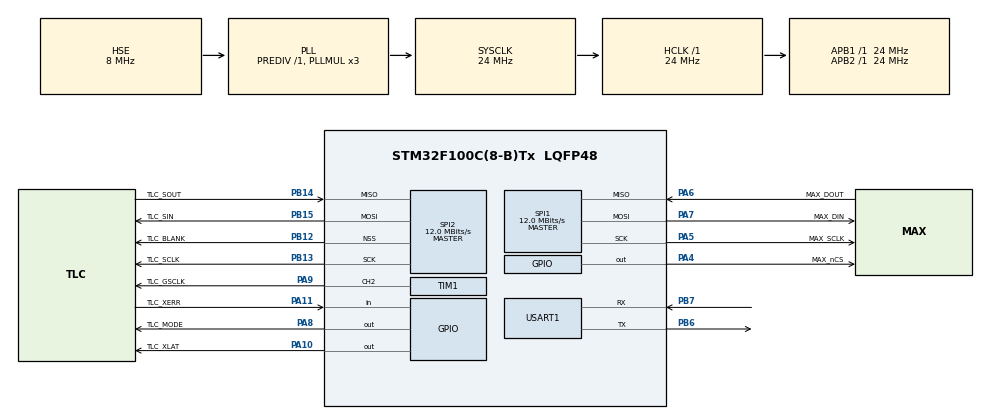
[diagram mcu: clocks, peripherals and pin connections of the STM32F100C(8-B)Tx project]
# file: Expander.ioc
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Dma.Request0=SPI1_RX
Dma.Request1=SPI1_TX
Dma.SPI1_RX.0.Direction=DMA_PERIPH_TO_MEMORY
Dma.SPI1_RX.0.Instance=DMA1_Channel2
Dma.SPI1_RX.0.MemDataAlignment=DMA_MDATAALIGN_BYTE
Dma.SPI1_RX.0.MemInc=DMA_MINC_ENABLE
Dma.SPI1_RX.0.Mode=DMA_NORMAL
Dma.SPI1_RX.0.PeriphDataAlignment=DMA_PDATAALIGN_BYTE
Dma.SPI1_RX.0.PeriphInc=DMA_PINC_DISABLE
Dma.SPI1_RX.0.Priority=DMA_PRIORITY_LOW
Dma.SPI1_TX.1.Direction=DMA_MEMORY_TO_PERIPH
Dma.SPI1_TX.1.Instance=DMA1_Channel3
Dma.SPI1_TX.1.MemDataAlignment=DMA_MDATAALIGN_BYTE
Dma.SPI1_TX.1.MemInc=DMA_MINC_ENABLE
Dma.SPI1_TX.1.Mode=DMA_NORMAL
Dma.SPI1_TX.1.PeriphDataAlignment=DMA_PDATAALIGN_BYTE
Dma.SPI1_TX.1.PeriphInc=DMA_PINC_DISABLE
Dma.SPI1_TX.1.Priority=DMA_PRIORITY_LOW
Mcu.Family=STM32F1
Mcu.Name=STM32F100C(8-B)Tx
Mcu.Package=LQFP48
NVIC.DMA1_Channel2_IRQn=true\:0\:0\:false\:false\:true\:true\:true
NVIC.DMA1_Channel3_IRQn=true\:0\:0\:false\:false\:true\:true\:true
NVIC.PriorityGroup=NVIC_PRIORITYGROUP_4
NVIC.SPI2_IRQn=true\:0\:0\:false\:false\:true\:true\:true
NVIC.USART1_IRQn=true\:0\:0\:false\:false\:true\:true\:true
PA10.GPIO_Label=TLC_XLAT
PA10.Signal=GPIO_Output
PA11.GPIO_Label=TLC_XERR
PA11.Signal=GPIO_Input
PA13.GPIO_Label=SWDIO
PA13.Mode=Serial_Wire
PA13.Signal=SYS_JTMS-SWDIO
PA14.GPIO_Label=SWCLK
PA14.Mode=Serial_Wire
PA14.Signal=SYS_JTCK-SWCLK
PA4.GPIO_Label=MAX_nCS
PA4.Signal=GPIO_Output
PA5.GPIO_Label=MAX_SCLK
PA5.Mode=Full_Duplex_Master
PA5.Signal=SPI1_SCK
PA6.GPIO_Label=MAX_DOUT
PA6.Mode=Full_Duplex_Master
PA6.Signal=SPI1_MISO
PA7.GPIO_Label=MAX_DIN
PA7.Mode=Full_Duplex_Master
PA7.Signal=SPI1_MOSI
PA8.GPIO_Label=TLC_MODE
PA8.Signal=GPIO_Output
PA9.GPIO_Label=TLC_GSCLK
PA9.GPIO_Speed=GPIO_SPEED_FREQ_HIGH
PA9.Signal=S_TIM1_CH2
PB12.GPIO_Label=TLC_BLANK
PB12.Mode=NSS_Signal_Hard_Output
PB12.Signal=SPI2_NSS
PB13.GPIO_Label=TLC_SCLK
PB13.Mode=Full_Duplex_Master
PB13.Signal=SPI2_SCK
PB14.GPIO_Label=TLC_SOUT
PB14.Mode=Full_Duplex_Master
PB14.Signal=SPI2_MISO
PB15.GPIO_Label=TLC_SIN
PB15.Mode=Full_Duplex_Master
PB15.Signal=SPI2_MOSI
PB6.Mode=Asynchronous
PB6.Signal=USART1_TX
PB7.Mode=Asynchronous
PB7.Signal=USART1_RX
PD0-OSC_IN.Mode=HSE-External-Oscillator
PD0-OSC_IN.Signal=RCC_OSC_IN
PD1-OSC_OUT.Mode=HSE-External-Oscillator
PD1-OSC_OUT.Signal=RCC_OSC_OUT
ProjectManager.HeapSize=0x400
ProjectManager.StackSize=0x200
ProjectManager.TargetToolchain=Other Toolchains (GPDSC)
RCC.AHBFreq_Value=24000000
RCC.APB1Freq_Value=24000000
RCC.APB1TimFreq_Value=24000000
RCC.APB2Freq_Value=24000000
RCC.APB2TimFreq_Value=24000000
RCC.HCLKFreq_Value=24000000
RCC.PLLMUL=RCC_PLL_MUL3
RCC.PLLSource=RCC_PLLSOURCE_HSE
RCC.SYSCLKFreq_VALUE=24000000
RCC.SYSCLKSource=RCC_SYSCLKSOURCE_PLLCLK
SH.S_TIM1_CH2.0=TIM1_CH2,Output Compare2 CH2
SPI1.BaudRatePrescaler=SPI_BAUDRATEPRESCALER_2
SPI1.CalculateBaudRate=12.0 MBits/s
SPI1.Direction=SPI_DIRECTION_2LINES
SPI1.Mode=SPI_MODE_MASTER
SPI1.VirtualType=VM_MASTER
SPI2.BaudRatePrescaler=SPI_BAUDRATEPRESCALER_2
SPI2.CalculateBaudRate=12.0 MBits/s
SPI2.Direction=SPI_DIRECTION_2LINES
SPI2.Mode=SPI_MODE_MASTER
SPI2.VirtualNSS=VM_NSSHARD
SPI2.VirtualType=VM_MASTER
TIM1.AutoReloadPreload=TIM_AUTORELOAD_PRELOAD_DISABLE
TIM1.Channel-Output\ Compare2\ CH2=TIM_CHANNEL_2
TIM1.OCMode_2=TIM_OCMODE_TOGGLE
TIM1.Period=2
TIM1.Pulse-Output\ Compare2\ CH2=32765
USART1.VirtualMode=VM_ASYNC
VP_TIM1_VS_ClockSourceINT.Mode=Internal
board=Expander

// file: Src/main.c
/* USER CODE BEGIN Header */
/**
  ******************************************************************************
  * @file           : main.c
  * @brief          : Main program body
  ******************************************************************************
  * @attention
  *
  * <h2><center>&copy; Copyright (c) 2021 STMicroelectronics.
  * All rights reserved.</center></h2>
  *
  * This software component is licensed by ST under BSD 3-Clause license,
  * the "License"; You may not use this file except in compliance with the
  * License. You may obtain a copy of the License at:
  *                        opensource.org/licenses/BSD-3-Clause
  *
  ******************************************************************************
  */
/* USER CODE END Header */
#include "main.h"

/* USER CODE BEGIN Includes */
#include "HAL_MAX11300.h"
#include "HAL_TLC5946.h"
/* USER CODE END Includes */

SPI_HandleTypeDef hspi1;
SPI_HandleTypeDef hspi2;
DMA_HandleTypeDef hdma_spi1_rx;
DMA_HandleTypeDef hdma_spi1_tx;

TIM_HandleTypeDef htim1;

UART_HandleTypeDef huart1;

/* USER CODE BEGIN PV */
/* Private variables ---------------------------------------------------------*/

/* USER CODE END PV */

void SystemClock_Config(void);
static void MX_GPIO_Init(void);
static void MX_DMA_Init(void);
static void MX_SPI1_Init(void);
static void MX_SPI2_Init(void);
static void MX_TIM1_Init(void);
static void MX_USART1_UART_Init(void);
/* USER CODE BEGIN PFP */
/* Private function prototypes -----------------------------------------------*/
void setup(void);
void run(void);

/* USER CODE END PFP */

int main(void)
{

  /* MCU Configuration--------------------------------------------------------*/

  /* Reset of all peripherals, Initializes the Flash interface and the Systick. */
  HAL_Init();

  /* Configure the system clock */
  SystemClock_Config();

  /* Initialize all configured peripherals */
  MX_GPIO_Init();
  MX_DMA_Init();
  MX_SPI1_Init();
  MX_SPI2_Init();
  MX_TIM1_Init();
  MX_USART1_UART_Init();
  /* USER CODE BEGIN 2 */

  setup();

  /* USER CODE END 2 */

  /* Infinite loop */
  while (1)
  {

    /* USER CODE BEGIN 3 */
   run();

  }
  /* USER CODE END 3 */
}

void SystemClock_Config(void)
{
  RCC_OscInitTypeDef RCC_OscInitStruct = {0};
  RCC_ClkInitTypeDef RCC_ClkInitStruct = {0};

  /** Initializes the RCC Oscillators according to the specified parameters
  * in the RCC_OscInitTypeDef structure.
  */
  RCC_OscInitStruct.OscillatorType = RCC_OSCILLATORTYPE_HSE;
  RCC_OscInitStruct.HSEState = RCC_HSE_ON;
  RCC_OscInitStruct.HSEPredivValue = RCC_HSE_PREDIV_DIV1;
  RCC_OscInitStruct.PLL.PLLState = RCC_PLL_ON;
  RCC_OscInitStruct.PLL.PLLSource = RCC_PLLSOURCE_HSE;
  RCC_OscInitStruct.PLL.PLLMUL = RCC_PLL_MUL3;
  if (HAL_RCC_OscConfig(&RCC_OscInitStruct) != HAL_OK)
  {
    Error_Handler();
  }
  /** Initializes the CPU, AHB and APB buses clocks
  */
  RCC_ClkInitStruct.ClockType = RCC_CLOCKTYPE_HCLK|RCC_CLOCKTYPE_SYSCLK
                              |RCC_CLOCKTYPE_PCLK1|RCC_CLOCKTYPE_PCLK2;
  RCC_ClkInitStruct.SYSCLKSource = RCC_SYSCLKSOURCE_PLLCLK;
  RCC_ClkInitStruct.AHBCLKDivider = RCC_SYSCLK_DIV1;
  RCC_ClkInitStruct.APB1CLKDivider = RCC_HCLK_DIV1;
  RCC_ClkInitStruct.APB2CLKDivider = RCC_HCLK_DIV1;

  if (HAL_RCC_ClockConfig(&RCC_ClkInitStruct, FLASH_LATENCY_0) != HAL_OK)
  {
    Error_Handler();
  }
}

static void MX_SPI1_Init(void)
{

  /* SPI1 parameter configuration*/
  hspi1.Instance = SPI1;
  hspi1.Init.Mode = SPI_MODE_MASTER;
  hspi1.Init.Direction = SPI_DIRECTION_2LINES;
  hspi1.Init.DataSize = SPI_DATASIZE_8BIT;
  hspi1.Init.CLKPolarity = SPI_POLARITY_LOW;
  hspi1.Init.CLKPhase = SPI_PHASE_1EDGE;
  hspi1.Init.NSS = SPI_NSS_SOFT;
  hspi1.Init.BaudRatePrescaler = SPI_BAUDRATEPRESCALER_2;
  hspi1.Init.FirstBit = SPI_FIRSTBIT_MSB;
  hspi1.Init.TIMode = SPI_TIMODE_DISABLE;
  hspi1.Init.CRCCalculation = SPI_CRCCALCULATION_DISABLE;
  hspi1.Init.CRCPolynomial = 10;
  if (HAL_SPI_Init(&hspi1) != HAL_OK)
  {
    Error_Handler();
  }

}

static void MX_SPI2_Init(void)
{

  /* SPI2 parameter configuration*/
  hspi2.Instance = SPI2;
  hspi2.Init.Mode = SPI_MODE_MASTER;
  hspi2.Init.Direction = SPI_DIRECTION_2LINES;
  hspi2.Init.DataSize = SPI_DATASIZE_8BIT;
  hspi2.Init.CLKPolarity = SPI_POLARITY_LOW;
  hspi2.Init.CLKPhase = SPI_PHASE_1EDGE;
  hspi2.Init.NSS = SPI_NSS_HARD_OUTPUT;
  hspi2.Init.BaudRatePrescaler = SPI_BAUDRATEPRESCALER_2;
  hspi2.Init.FirstBit = SPI_FIRSTBIT_MSB;
  hspi2.Init.TIMode = SPI_TIMODE_DISABLE;
  hspi2.Init.CRCCalculation = SPI_CRCCALCULATION_DISABLE;
  hspi2.Init.CRCPolynomial = 10;
  if (HAL_SPI_Init(&hspi2) != HAL_OK)
  {
    Error_Handler();
  }

}

static void MX_TIM1_Init(void)
{

  TIM_ClockConfigTypeDef sClockSourceConfig = {0};
  TIM_MasterConfigTypeDef sMasterConfig = {0};
  TIM_OC_InitTypeDef sConfigOC = {0};
  TIM_BreakDeadTimeConfigTypeDef sBreakDeadTimeConfig = {0};

  htim1.Instance = TIM1;
  htim1.Init.Prescaler = 0;
  htim1.Init.CounterMode = TIM_COUNTERMODE_UP;
  htim1.Init.Period = 2;
  htim1.Init.ClockDivision = TIM_CLOCKDIVISION_DIV1;
  htim1.Init.RepetitionCounter = 0;
  htim1.Init.AutoReloadPreload = TIM_AUTORELOAD_PRELOAD_ENABLE;
  if (HAL_TIM_Base_Init(&htim1) != HAL_OK)
  {
    Error_Handler();
  }
  sClockSourceConfig.ClockSource = TIM_CLOCKSOURCE_INTERNAL;
  if (HAL_TIM_ConfigClockSource(&htim1, &sClockSourceConfig) != HAL_OK)
  {
    Error_Handler();
  }
  if (HAL_TIM_OC_Init(&htim1) != HAL_OK)
  {
    Error_Handler();
  }
  sMasterConfig.MasterOutputTrigger = TIM_TRGO_RESET;
  sMasterConfig.MasterSlaveMode = TIM_MASTERSLAVEMODE_DISABLE;
  if (HAL_TIMEx_MasterConfigSynchronization(&htim1, &sMasterConfig) != HAL_OK)
  {
    Error_Handler();
  }
  sConfigOC.OCMode = TIM_OCMODE_TOGGLE;
  sConfigOC.Pulse = 32765;
  sConfigOC.OCPolarity = TIM_OCPOLARITY_HIGH;
  sConfigOC.OCNPolarity = TIM_OCNPOLARITY_HIGH;
  sConfigOC.OCFastMode = TIM_OCFAST_DISABLE;
  sConfigOC.OCIdleState = TIM_OCIDLESTATE_RESET;
  sConfigOC.OCNIdleState = TIM_OCNIDLESTATE_RESET;
  if (HAL_TIM_OC_ConfigChannel(&htim1, &sConfigOC, TIM_CHANNEL_2) != HAL_OK)
  {
    Error_Handler();
  }
  sBreakDeadTimeConfig.OffStateRunMode = TIM_OSSR_DISABLE;
  sBreakDeadTimeConfig.OffStateIDLEMode = TIM_OSSI_DISABLE;
  sBreakDeadTimeConfig.LockLevel = TIM_LOCKLEVEL_OFF;
  sBreakDeadTimeConfig.DeadTime = 0;
  sBreakDeadTimeConfig.BreakState = TIM_BREAK_DISABLE;
  sBreakDeadTimeConfig.BreakPolarity = TIM_BREAKPOLARITY_HIGH;
  sBreakDeadTimeConfig.AutomaticOutput = TIM_AUTOMATICOUTPUT_DISABLE;
  if (HAL_TIMEx_ConfigBreakDeadTime(&htim1, &sBreakDeadTimeConfig) != HAL_OK)
  {
    Error_Handler();
  }
  HAL_TIM_MspPostInit(&htim1);

}

static void MX_USART1_UART_Init(void)
{

  huart1.Instance = USART1;
  huart1.Init.BaudRate = 115200;
  huart1.Init.WordLength = UART_WORDLENGTH_8B;
  huart1.Init.StopBits = UART_STOPBITS_1;
  huart1.Init.Parity = UART_PARITY_NONE;
  huart1.Init.Mode = UART_MODE_TX_RX;
  huart1.Init.HwFlowCtl = UART_HWCONTROL_NONE;
  huart1.Init.OverSampling = UART_OVERSAMPLING_16;
  if (HAL_UART_Init(&huart1) != HAL_OK)
  {
    Error_Handler();
  }

}

static void MX_DMA_Init(void)
{

  /* DMA controller clock enable */
  __HAL_RCC_DMA1_CLK_ENABLE();

  /* DMA interrupt init */
  /* DMA1_Channel2_IRQn interrupt configuration */
  HAL_NVIC_SetPriority(DMA1_Channel2_IRQn, 0, 0);
  HAL_NVIC_EnableIRQ(DMA1_Channel2_IRQn);
  /* DMA1_Channel3_IRQn interrupt configuration */
  HAL_NVIC_SetPriority(DMA1_Channel3_IRQn, 0, 0);
  HAL_NVIC_EnableIRQ(DMA1_Channel3_IRQn);

}

static void MX_GPIO_Init(void)
{
  GPIO_InitTypeDef GPIO_InitStruct = {0};

  /* GPIO Ports Clock Enable */
  __HAL_RCC_GPIOC_CLK_ENABLE();
  __HAL_RCC_GPIOD_CLK_ENABLE();
  __HAL_RCC_GPIOA_CLK_ENABLE();
  __HAL_RCC_GPIOB_CLK_ENABLE();

  /*Configure GPIO pin Output Level */
  HAL_GPIO_WritePin(GPIOA, MAX_nCS_Pin|TLC_MODE_Pin|TLC_XLAT_Pin, GPIO_PIN_RESET);

  /*Configure GPIO pins : PC13 PC14 PC15 */
  GPIO_InitStruct.Pin = GPIO_PIN_13|GPIO_PIN_14|GPIO_PIN_15;
  GPIO_InitStruct.Mode = GPIO_MODE_ANALOG;
  HAL_GPIO_Init(GPIOC, &GPIO_InitStruct);

  /*Configure GPIO pins : PA0 PA1 PA2 PA3
                           PA12 PA15 */
  GPIO_InitStruct.Pin = GPIO_PIN_0|GPIO_PIN_1|GPIO_PIN_2|GPIO_PIN_3
                          |GPIO_PIN_12|GPIO_PIN_15;
  GPIO_InitStruct.Mode = GPIO_MODE_ANALOG;
  HAL_GPIO_Init(GPIOA, &GPIO_InitStruct);

  /*Configure GPIO pins : MAX_nCS_Pin TLC_MODE_Pin TLC_XLAT_Pin */
  GPIO_InitStruct.Pin = MAX_nCS_Pin|TLC_MODE_Pin|TLC_XLAT_Pin;
  GPIO_InitStruct.Mode = GPIO_MODE_OUTPUT_PP;
  GPIO_InitStruct.Pull = GPIO_NOPULL;
  GPIO_InitStruct.Speed = GPIO_SPEED_FREQ_LOW;
  HAL_GPIO_Init(GPIOA, &GPIO_InitStruct);

  /*Configure GPIO pins : PB0 PB1 PB2 PB10
                           PB11 PB3 PB4 PB5
                           PB8 PB9 */
  GPIO_InitStruct.Pin = GPIO_PIN_0|GPIO_PIN_1|GPIO_PIN_2|GPIO_PIN_10
                          |GPIO_PIN_11|GPIO_PIN_3|GPIO_PIN_4|GPIO_PIN_5
                          |GPIO_PIN_8|GPIO_PIN_9;
  GPIO_InitStruct.Mode = GPIO_MODE_ANALOG;
  HAL_GPIO_Init(GPIOB, &GPIO_InitStruct);

  /*Configure GPIO pin : TLC_XERR_Pin */
  GPIO_InitStruct.Pin = TLC_XERR_Pin;
  GPIO_InitStruct.Mode = GPIO_MODE_INPUT;
  GPIO_InitStruct.Pull = GPIO_NOPULL;
  HAL_GPIO_Init(TLC_XERR_GPIO_Port, &GPIO_InitStruct);

}

/* USER CODE BEGIN 4 */

void HAL_SPI_TxCpltCallback(SPI_HandleTypeDef *hspi)
{
  if(hspi == &hspi2){TLC5946_TxINTCallback();}
	if(hspi == &hspi1){MAX11300_TxINTCallback();}
}

void HAL_SPI_RxCpltCallback(SPI_HandleTypeDef *hspi)
{
  if(hspi == &hspi2){}
	if(hspi == &hspi1){MAX11300_RxINTCallback();}
}

void HAL_SPI_TxRxCpltCallback(SPI_HandleTypeDef *hspi){
  if(hspi == &hspi2){TLC5946_TxINTCallback();}
  if(hspi == &hspi1){MAX11300_TxRxINTCallback();}
}

/* USER CODE END 4 */

void Error_Handler(void)
{
  __disable_irq();
  while (1)
  {
  }
}

/************************ (C) COPYRIGHT STMicroelectronics *****END OF FILE****/
